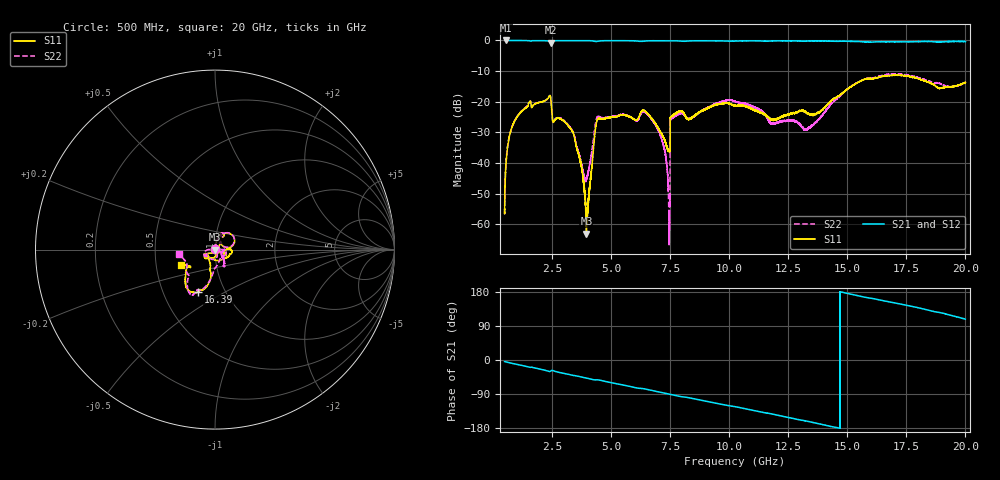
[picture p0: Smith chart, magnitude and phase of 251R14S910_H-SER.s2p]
!{251R14S910}
!Johanson Technology Inc.
!www.johansontechnology.com
!Test Board Conditions:
!Substrate Type  RO4350B
!Substrate Thickness  20 mil
!Substrate Dk  3.66
!TL Type: GCPW
!TL Trace Width  36 mil
!TL Gap  12 mil
!Electrode orientation  Horizontal
!DUT TOPOLOGY	SERIES
!Mounting Pad LxW  26x36 mil
! Created Wed Mar 11 15:53:39 2020
# mhz S ma R 50
! 2 Port Network Data from SP1.SP block
! freq  magS11  angS11  magS21  angS21  magS12  angS12  magS22  angS22
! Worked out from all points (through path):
!   19501 points, 500 MHz to 20 GHz, reference 50 ohm
!   highest |S21| = 0.00 dB at 555 MHz (marker M1); lowest = -0.7 dB at 2.458 GHz (marker M2)
!   group delay of S21, straight-line fit = 34.7 ps
!   lowest |S11| = -63.0 dB at 3.963 GHz (marker M3), VSWR 1.00, Z = 50.1 - j0.0317 ohm
!   |S11| at or under -10 dB: start of sweep to end of sweep
!   |S22| runs from -67.1 to -10.9 dB; largest |S21 - S12| = 0.018
!   S11 on the Smith chart (normalised r, x): 500 MHz: 1.00, +0.00; 16.39 GHz: 0.75, -0.38; 20 GHz: 0.67, -0.12
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500  0.001565 67.2  0.9986 -4.0  0.9982 -4.0  0.001466 75.4
555  0.00946 83.4  0.9999 -4.9  0.9992 -4.9  0.009562 84.8
698  0.02688 82.0  0.9984 -7.1  0.9982 -7.1  0.02698 82.1
1024  0.05633 78.4  0.9971 -11.6  0.997 -11.7  0.05691 77.8
2458  0.1093 16.1  0.9185 -29.0  0.9188 -29.0  0.1095 18.2
2597  0.04848 45.1  0.984 -29.1  0.9848 -29.1  0.04901 47.8
3357  0.03359 42.3  0.9932 -40.0  0.9944 -40.0  0.03463 46.8
3750  0.008787 36.9  0.994 -44.8  0.9953 -44.8  0.00985 30.0
3963  0.0007078 -26.6  0.9938 -47.7  0.994 -47.7  0.005642 -37.7
4473  0.05314 -124.9  0.9735 -52.5  0.9739 -52.5  0.0573 -112.5
6391  0.07239 -145.2  0.9731 -76.0  0.9736 -75.8  0.06862 -153.2
7000  0.0372 -147.7  0.99 -84.0  0.9915 -84.0  0.03463 179.5
7279  0.02339 -127.3  0.9903 -87.6  0.9894 -87.6  0.01643 178.0
7403  0.01635 -107.1  0.9894 -89.2  0.9901 -89.2  0.005974 176.1
7518  0.05571 -20.2  0.9886 -90.7  0.9891 -90.7  0.05096 3.0
7598  0.05838 -20.4  0.9878 -91.8  0.9887 -91.8  0.05389 0.7
10250  0.08645 -16.9  0.9768 -123.1  0.9761 -123.1  0.1016 -62.1
13500  0.06154 -132.5  0.9816 -164.1  0.9822 -164.1  0.04111 -27.6
15131  0.1737 -99.1  0.9654 173.9  0.9714 173.9  0.1745 -99.8
16390  0.2535 -111.6  0.9521 158.3  0.946 158.2  0.2628 -114.4
16750  0.2665 -117.0  0.9538 153.7  0.9498 153.4  0.2821 -116.1
20000  0.2065 -156.0  0.9588 107.8  0.9607 108.0  0.2038 -172.7
